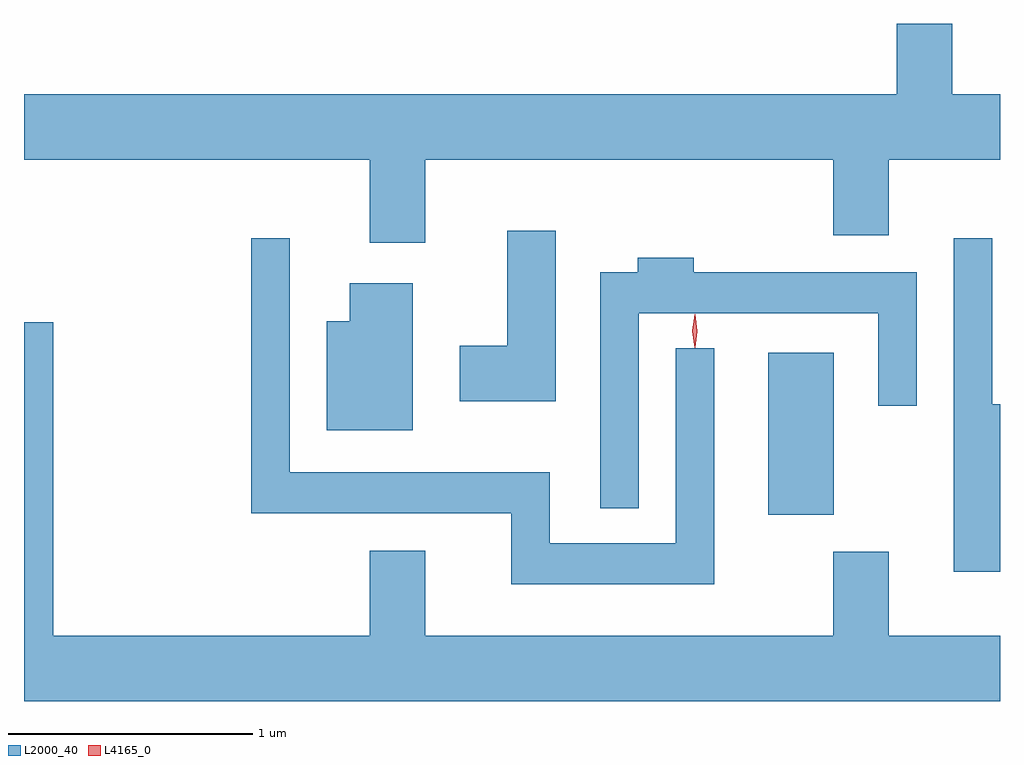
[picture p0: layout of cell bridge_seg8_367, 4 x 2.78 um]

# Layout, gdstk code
import gdstk
lib = gdstk.Library(unit=1e-6, precision=1e-09)
def R(c, l, rs):  # rectangles x0, y0, x1, y1
    for r in rs: c.add(gdstk.rectangle(r[:2], r[2:], *l))
def P(c, l, *ps):  # polygons
    for p in ps: c.add(gdstk.Polygon(p, *l))
L2000_40 = (2000, 40)
L4165_0 = (4165, 0)

bridge_seg8_367 = lib.new_cell('bridge_seg8_367')
R(bridge_seg8_367, L2000_40, [(685.526,1923.761,685.794,1924.424)])
P(bridge_seg8_367, L2000_40, [(682.475,1925.216),(683.891,1925.216),(683.891,1924.876),(684.119,1924.876),(684.119,1925.216),(685.791,1925.216),(685.791,1924.906),(686.019,1924.906),(686.019,1925.216),(686.475,1925.216),(686.475,1925.484),(686.279,1925.484),(686.279,1925.773),(686.051,1925.773),(686.051,1925.484),(682.475,1925.484)],
  [(684.654,1924.924),(684.456,1924.924),(684.456,1924.454),(684.261,1924.454),(684.261,1924.226),(684.654,1924.226)],
  [(686.475,1924.214),(686.444,1924.214),(686.444,1924.893),(686.286,1924.893),(686.286,1923.526),(686.475,1923.526)],
  [(685.304,1924.443),(685.146,1924.443),(685.146,1923.644),(684.629,1923.644),(684.629,1923.934),(683.564,1923.934),(683.564,1924.893),(683.406,1924.893),(683.406,1923.766),(684.471,1923.766),(684.471,1923.476),(685.304,1923.476)],
  [(684.994,1924.586),(685.976,1924.586),(685.976,1924.208),(686.134,1924.208),(686.134,1924.754),(685.219,1924.754),(685.219,1924.814),(684.991,1924.814),(684.991,1924.754),(684.836,1924.754),(684.836,1923.788),(684.994,1923.788)],
  [(684.069,1924.709),(683.811,1924.709),(683.811,1924.554),(683.716,1924.554),(683.716,1924.106),(684.069,1924.106)],
  [(686.475,1923.264),(686.019,1923.264),(686.019,1923.609),(685.791,1923.609),(685.791,1923.264),(684.119,1923.264),(684.119,1923.614),(683.891,1923.614),(683.891,1923.264),(682.594,1923.264),(682.594,1924.549),(682.475,1924.549),(682.475,1922.996),(686.475,1922.996)])
P(bridge_seg8_367, L4165_0, [(685.224,1924.444),(685.224,1924.444),(685.214,1924.513),(685.224,1924.582),(685.224,1924.583),(685.225,1924.582),(685.234,1924.513),(685.225,1924.444)],
  [(685.223,1924.447),(685.214,1924.514),(685.223,1924.58),(685.223,1924.58),(685.224,1924.58),(685.234,1924.514),(685.224,1924.447),(685.224,1924.447)])

lib.write_gds('bridge_seg8_367.gds')
